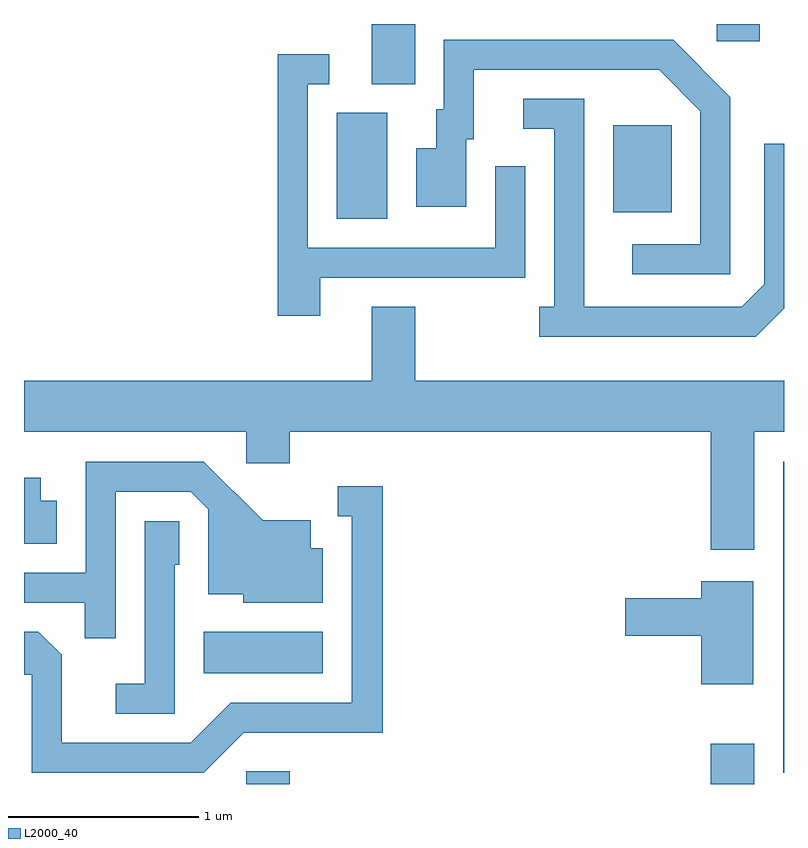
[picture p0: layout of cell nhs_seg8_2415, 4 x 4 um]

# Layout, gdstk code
import gdstk
lib = gdstk.Library(unit=1e-6, precision=1e-09)
def R(c, l, rs):  # rectangles x0, y0, x1, y1
    for r in rs: c.add(gdstk.rectangle(r[:2], r[2:], *l))
def P(c, l, *ps):  # polygons
    for p in ps: c.add(gdstk.Polygon(p, *l))
L2000_40 = (2000, 40)

nhs_seg8_2415 = lib.new_cell('nhs_seg8_2415')
R(nhs_seg8_2415, L2000_40, [(258.781,1832.342,259.009,1832.409), (261.226,1832.342,261.454,1832.554), (261.606,1832.401,261.611,1834.039), (258.556,1832.926,259.184,1833.144), (259.256,1835.316,259.524,1835.874), (260.711,1835.351,261.019,1835.809), (259.441,1836.026,259.669,1836.342), (261.256,1836.251,261.484,1836.342)])
P(nhs_seg8_2415, L2000_40, [(261.329,1835.957),(261.027,1836.259),(259.821,1836.259),(259.821,1835.894),(259.781,1835.894),(259.781,1835.689),(259.676,1835.689),(259.676,1835.381),(259.939,1835.381),(259.939,1835.736),(259.979,1835.736),(259.979,1836.101),(260.954,1836.101),(261.171,1835.884),(261.171,1835.184),(260.813,1835.184),(260.813,1835.026),(261.329,1835.026)],
  [(259.169,1835.006),(260.249,1835.006),(260.249,1835.593),(260.091,1835.593),(260.091,1835.164),(259.104,1835.164),(259.104,1836.026),(259.218,1836.026),(259.218,1836.184),(258.946,1836.184),(258.946,1834.806),(259.169,1834.806)],
  [(261.611,1834.846),(261.611,1835.713),(261.506,1835.713),(261.506,1834.972),(261.389,1834.854),(260.559,1834.854),(260.559,1835.949),(260.238,1835.949),(260.238,1835.791),(260.401,1835.791),(260.401,1834.854),(260.323,1834.854),(260.323,1834.696),(261.462,1834.696)],
  [(261.454,1834.196),(261.611,1834.196),(261.611,1834.464),(259.669,1834.464),(259.669,1834.854),(259.441,1834.854),(259.441,1834.464),(257.611,1834.464),(257.611,1834.196),(258.781,1834.196),(258.781,1834.031),(259.009,1834.031),(259.009,1834.196),(261.226,1834.196),(261.226,1833.576),(261.454,1833.576)],
  [(258.094,1833.881),(258.489,1833.881),(258.581,1833.789),(258.581,1833.341),(258.766,1833.341),(258.766,1833.296),(259.184,1833.296),(259.184,1833.584),(259.119,1833.584),(259.119,1833.729),(258.867,1833.729),(258.557,1834.039),(257.936,1834.039),(257.936,1833.454),(257.611,1833.454),(257.611,1833.296),(257.931,1833.296),(257.931,1833.108),(258.094,1833.108)],
  [(257.784,1833.834),(257.699,1833.834),(257.699,1833.954),(257.611,1833.954),(257.611,1833.606),(257.784,1833.606)],
  [(258.767,1832.611),(259.499,1832.611),(259.499,1833.909),(259.263,1833.909),(259.263,1833.751),(259.336,1833.751),(259.336,1832.769),(258.699,1832.769),(258.489,1832.559),(257.809,1832.559),(257.809,1833.022),(257.687,1833.144),(257.611,1833.144),(257.611,1832.916),(257.651,1832.916),(257.651,1832.401),(258.557,1832.401)],
  [(258.404,1833.496),(258.429,1833.496),(258.429,1833.724),(258.246,1833.724),(258.246,1832.869),(258.093,1832.869),(258.093,1832.711),(258.404,1832.711)],
  [(261.449,1833.409),(261.176,1833.409),(261.176,1833.319),(260.776,1833.319),(260.776,1833.121),(261.176,1833.121),(261.176,1832.866),(261.449,1832.866)])

lib.write_gds('nhs_seg8_2415.gds')
